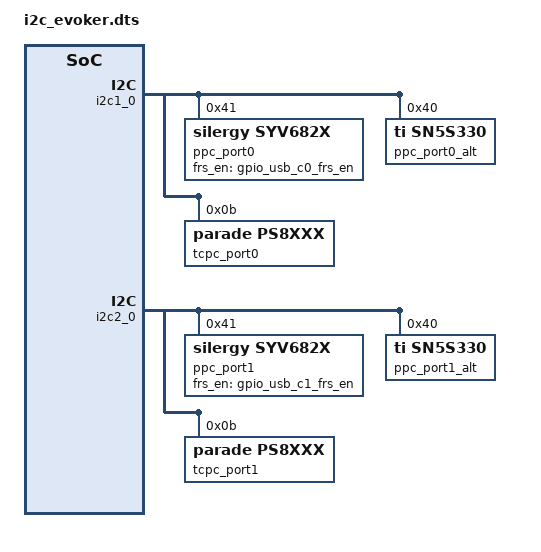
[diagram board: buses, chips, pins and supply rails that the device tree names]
/* Copyright 2022 The ChromiumOS Authors
 * Use of this source code is governed by a BSD-style license that can be
 * found in the LICENSE file.
 */

#include "i2c_common.dtsi"

&i2c1_0 {
	ppc_port0: syv682x@41 {
		compatible = "silergy,syv682x";
		status = "okay";
		reg = <0x41>;
		frs_en_gpio = <&gpio_usb_c0_frs_en>;
	};

	ppc_port0_alt: sn5s330@40 {
		compatible = "ti,sn5s330";
		status = "okay";
		reg = <0x40>;
	};

	tcpc_port0: ps8xxx@b {
		compatible = "parade,ps8xxx";
		reg = <0xb>;
	};
};

&i2c2_0 {
	ppc_port1: syv682x@41 {
		compatible = "silergy,syv682x";
		status = "okay";
		reg = <0x41>;
		frs_en_gpio = <&gpio_usb_c1_frs_en>;
	};

	ppc_port1_alt: sn5s330@40 {
		compatible = "ti,sn5s330";
		status = "okay";
		reg = <0x40>;
	};

	tcpc_port1: ps8xxx@b {
		compatible = "parade,ps8xxx";
		reg = <0xb>;
	};
};
